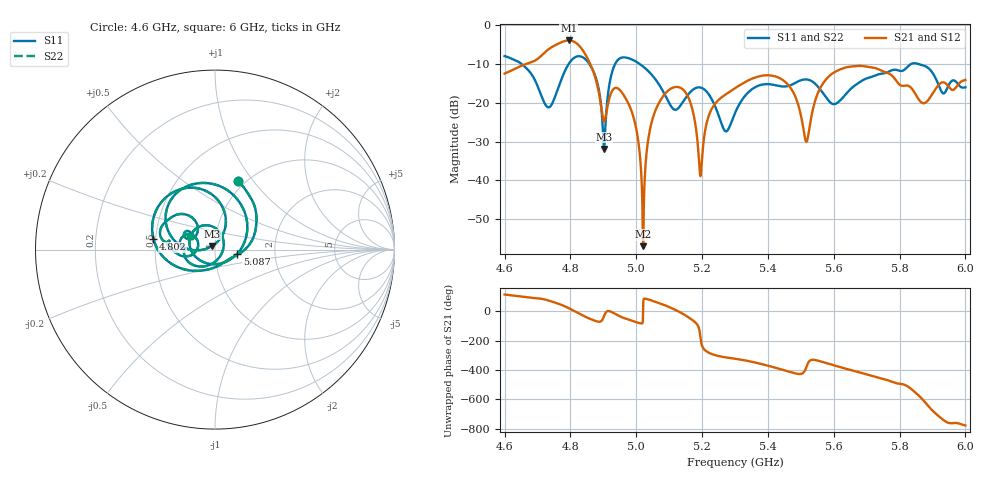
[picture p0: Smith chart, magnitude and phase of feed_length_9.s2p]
! TOUCHSTONE file generated by CST MICROWAVE STUDIO
! Date and time: Mon Dec  2 05:46:50 2024
! Project name: test_tuning.cst
! Parameters = {airCoaxOuterDiameter=3; chamferAngle=45; chamferWidth=24; connectorLength=10; drillingHoleDiameter=4.1; feedLength=110; flareDiameter=130; flareLength=70; gratingDistance=0; gratingGap=1.90274; outletLength=30; polarizerLength=134; probe1Diameter=1.3; probe1Distance=14; probe1Length=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
! Header version: 2024
! Port assignment regex: !\s*Touchstone port\s*([0-9]+)\s*=\s*(CST MWS port|CST DES external port|CST DES block port)\s*(.+)\s* \(\"(.*)\"\)(\s*mode\s*([0-9]+))?.*
! Touchstone port assignment:
! Touchstone port 1 = CST MWS port 1 ("Input1")
! Touchstone port 2 = CST MWS port 2 ("Input2")
# GHz S MA R 50
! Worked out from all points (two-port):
!   1001 points, 4.6 GHz to 6 GHz, reference 50 ohm
!   highest |S21| = -3.91 dB at 4.795 GHz (marker M1); lowest = -57.0 dB at 5.021 GHz (marker M2)
!   |S21| within 3 dB of the highest: 4.723 GHz to 4.841 GHz (117.9 MHz wide, 2.47 % of centre)
!   lowest |S11| = -31.9 dB at 4.902 GHz (marker M3), VSWR 1.05, Z = 48.5 + j1.98 ohm
!   |S11| at or under -10 dB: 4.652 GHz to 4.795 GHz (142.5 MHz wide, 3.02 % of centre); 5.011 GHz to 5.835 GHz (824 MHz wide, 15.2 % of centre); 5.857 GHz to end of sweep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
!   |S22| runs from -31.9 to -8.0 dB; largest |S21 - S12| = 1e-06
!   S11 on the Smith chart (normalised r, x): 4.6 GHz: 0.93, +0.84; 4.802 GHz: 0.49, +0.07; 5.087 GHz: 1.28, -0.06; 6 GHz: 0.75, +0.12
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4.6  0.4002 71.6  0.2381 115.6  0.2381 115.6  0.4002 71.6
4.733  0.08729 -55.8  0.4884 75.2  0.4884 75.2  0.08729 -55.8
4.7946  0.3166 -179.4  0.6373 23.0  0.6373 23.0  0.3166 -179.4
4.8016  0.3482 170.1  0.6334 15.0  0.6334 15.0  0.3482 170.1
4.8338  0.3934 124.2  0.5008 -23.5  0.5008 -23.5  0.3934 124.2
4.9024  0.02535 126.5  0.05693 -29.5  0.05693 -29.5  0.02535 126.5
4.929  0.2692 160.6  0.1472 -7.8  0.1472 -7.8  0.2692 160.6
4.9738  0.3791 101.8  0.1023 -52.8  0.1023 -52.8  0.3791 101.8
5.0214  0.2921 60.9  0.001411 73.8  0.001411 73.8  0.2921 60.9
5.0676  0.1761 17.3  0.09712 58.4  0.09712 58.4  0.1761 17.3
5.0872  0.1266 -10.1  0.1303 42.2  0.1303 42.2  0.1266 -10.1
5.1558  0.125 -170.0  0.1232 -35.7  0.1232 -35.7  0.125 -170.0
5.195  0.1575 132.0  0.0113 -175.4  0.0113 -175.4  0.1575 132.0
5.2272  0.1154 85.7  0.08015 71.6  0.08015 71.6  0.1154 85.7
5.3  0.07356 -95.8  0.1544 37.8  0.1544 37.8  0.07356 -95.8
5.4442  0.1623 178.2  0.1982 -37.5  0.1982 -37.5  0.1623 178.2
5.517  0.2 164.6  0.03122 -17.5  0.03122 -17.5  0.2 164.6
5.5338  0.1894 155.9  0.07232 30.0  0.07232 30.0  0.1894 155.9
5.6066  0.09747 175.4  0.2544 -11.7  0.2544 -11.7  0.09747 175.4
5.7676  0.2527 177.4  0.2387 -111.7  0.2387 -111.7  0.2527 177.4
5.8726  0.3026 143.7  0.09861 113.2  0.09861 113.2  0.3026 143.7
6  0.1584 151.7  0.1973 -57.5  0.1973 -57.5  0.1584 151.7
